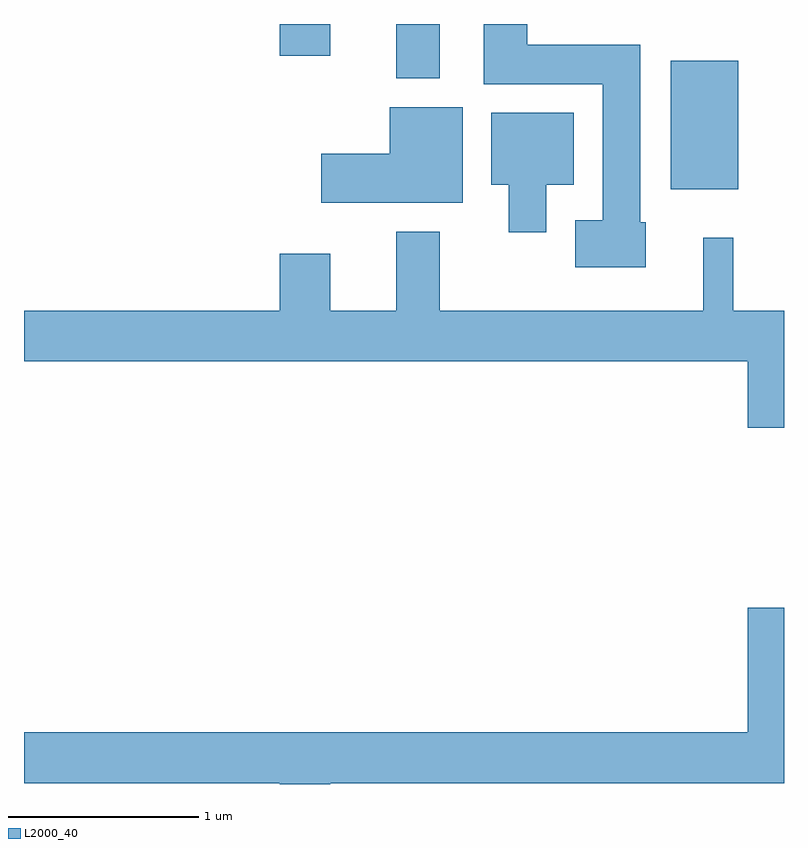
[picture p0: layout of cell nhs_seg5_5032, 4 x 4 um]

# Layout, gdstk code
import gdstk
lib = gdstk.Library(unit=1e-6, precision=1e-09)
def R(c, l, rs):  # rectangles x0, y0, x1, y1
    for r in rs: c.add(gdstk.rectangle(r[:2], r[2:], *l))
def P(c, l, *ps):  # polygons
    for p in ps: c.add(gdstk.Polygon(p, *l))
L2000_40 = (2000, 40)

nhs_seg5_5032 = lib.new_cell('nhs_seg5_5032')
R(nhs_seg5_5032, L2000_40, [(337.016,1513.201,337.369,1513.879), (335.571,1513.786,335.799,1514.072), (334.956,1513.906,335.224,1514.072)])
P(nhs_seg5_5032, L2000_40, [(336.884,1513.029),(336.854,1513.029),(336.854,1513.964),(336.259,1513.964),(336.259,1514.072),(336.031,1514.072),(336.031,1513.756),(336.656,1513.756),(336.656,1513.039),(336.511,1513.039),(336.511,1512.791),(336.884,1512.791)],
  [(335.919,1513.634),(335.536,1513.634),(335.536,1513.389),(335.176,1513.389),(335.176,1513.131),(335.919,1513.131)],
  [(336.359,1513.226),(336.504,1513.226),(336.504,1513.604),(336.071,1513.604),(336.071,1513.226),(336.161,1513.226),(336.161,1512.976),(336.359,1512.976)],
  [(337.611,1512.564),(337.344,1512.564),(337.344,1512.948),(337.186,1512.948),(337.186,1512.564),(335.799,1512.564),(335.799,1512.979),(335.571,1512.979),(335.571,1512.564),(335.224,1512.564),(335.224,1512.864),(334.956,1512.864),(334.956,1512.564),(333.611,1512.564),(333.611,1512.296),(337.421,1512.296),(337.421,1511.946),(337.611,1511.946)],
  [(335.224,1510.076),(337.611,1510.076),(337.611,1510.999),(337.421,1510.999),(337.421,1510.344),(333.611,1510.344),(333.611,1510.076),(334.956,1510.076),(334.956,1510.072),(335.224,1510.072)])

lib.write_gds('nhs_seg5_5032.gds')
